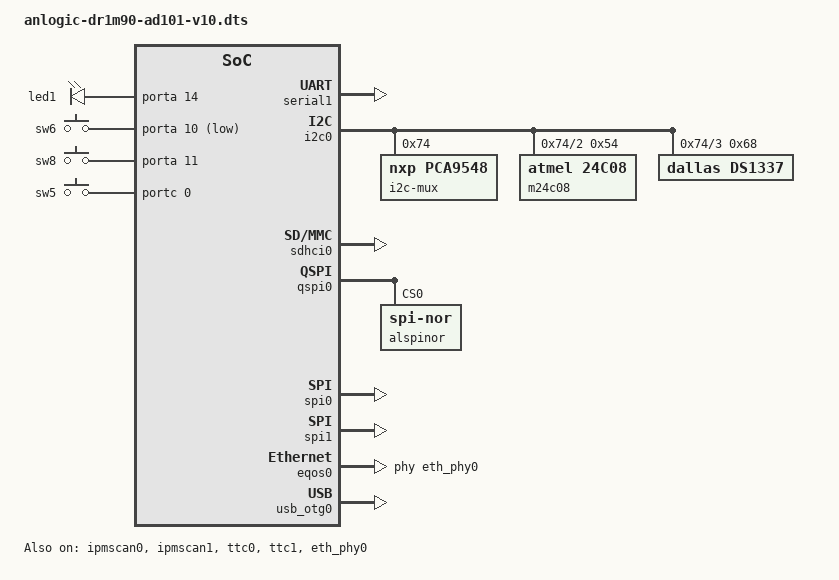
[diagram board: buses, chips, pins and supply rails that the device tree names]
// SPDX-License-Identifier: (GPL-2.0+ OR MIT)

/dts-v1/;
#include "anlogic-dr1m90.dts"
#include "anlogic-dr1m90-softip.dts"

&cma {
	alloc-ranges = <0x0 0x00000000 0x0 0xffffffff>;
	size = <0x0 0x10000000>;
};

&memory {
	reg = <0 0x00000000 0 0x40000000>;
};

&soc {
	leds {
		compatible = "gpio-leds";
		led1: led1 {
			gpios = <&porta 14 GPIO_ACTIVE_HIGH>;
			linux,default-trigger = "heartbeat";
			status = "okay";
		};
		led2: led2 {
			gpios = <&porta 13 GPIO_ACTIVE_HIGH>;
			linux,default-trigger = "heartbeat";
			status = "disabled";
		};
		led3: led3 {
			gpios = <&porta 12 GPIO_ACTIVE_HIGH>;
			linux,default-trigger = "heartbeat";
			status = "disabled";
		};
	};

	keys {
		compatible = "gpio-keys";
		sw6: sw6 {
			gpios = <&porta 10 GPIO_ACTIVE_LOW>;
			linux,code = <103>;
			status = "okay";
		};
		sw8: sw8 {
			gpios = <&porta 11 GPIO_ACTIVE_HIGH>;
			linux,code = <108>;
			status = "okay";
		};
		sw5: sw5 {
			gpios = <&portc 0 GPIO_ACTIVE_HIGH>;
			linux,code = <108>;
			status = "okay";
		};
	};
};

&serial0 {
	status = "disabled";
};

&serial1 {
	status = "okay";
};

&i2c0 {
	status = "okay";

	i2c-mux@74 {
		compatible = "nxp,pca9548";
		#address-cells = <1>;
		#size-cells = <0>;
		reg = <0x74>;
		status = "okay";

		i2c@2 {
			#address-cells = <1>;
			#size-cells = <0>;
			reg = <2>;
			/*
			 * IIC_EEPROM 1kB memory which uses 256B blocks
			 * where every block has different address.
			 *    0 - 256B address 0x54
			 * 256B - 512B address 0x55
			 * 512B - 768B address 0x56
			 * 768B - 1024B address 0x57
			 */
			m24c08: eeprom@54 {
				compatible = "atmel,24c08";
				reg = <0x54>;
				pagesize = <16>;
				address-width = <8>;
				status = "okay";
			};
		};

		i2c@3 {
			#address-cells = <1>;
			#size-cells = <0>;
			reg = <3>;
			ds1337: rtc@68 {
				compatible = "dallas,ds1337";
				reg = <0x68>;
				trickle-resistor-ohms = <250>;
				status = "okay";
			};
		};

	};
};

&i2c1 {
	status = "disabled";
};

&gpio0 {
	status = "okay";
};

&gpio1 {
	status = "okay";
};

&gpio2 {
	status = "okay";
};

&gpio3 {
	status = "okay";
};

&axidmac {
	status = "okay";
};

&watchdog0 {
	status = "disabled";
};

&ipmscan0 {
	status = "okay";
};

&ipmscan1 {
	status = "okay";
};

&sdhci0 {
	status = "okay";
};

&sdhci1 {
	status = "disabled";
};

&ahb_dma {
	status = "okay";
};

&qspi0 {
	rx-sample-delay-ns = <1>;
	status = "okay";

	//spidev@0 {
	//	compatible = "rohm,dh2228fv";
	//	reg = <0>;
	//	spi-max-frequency = <8000000>;
	//};

	flash0: flash@0 {
		compatible = "jedec,spi-nor";
		label = "alspinor";
		reg = <0x0>;
		spi-tx-bus-width = <4>;
		spi-rx-bus-width = <4>;
		spi-max-frequency = <AL_QSPI_MAX_FREQUENCY>;
	};

	//num-cs = <2>;
	//cs-gpios = <&gpio0 13 0>,
	//<&gpio0 14 0>;v
};

&spi0 {
	status = "okay";
};

&spi1 {
	status = "okay";
};

&ttc0 {
	status = "okay";
};

&ttc1 {
	status = "okay";
};

&eqos0 {
	phy-handle = <&eth_phy0>;
	status = "okay";
};

&eth_phy0 {
	/* Realtek RTL8211F (0x001cc916) */
	status = "okay";
};

&eth_phy1 {
	/* Motorcomm YT8531 (0x4f51e91b) */
	status = "disabled";
};

&eqos1 {
	phy-handle = <&eth_phy2>;
	status = "disabled";
};

&eth_phy2 {
	/* Realtek RTL8211F (0x001cc916) */
	status = "disabled";
};

&eth_phy3 {
	/* Motorcomm YT8531 (0x4f51e91b) */
	status = "disabled";
};

&usb_otg0 {
	status = "okay";
};

&adc {
	status = "disabled";
};

&smcc {
	status = "disabled";
	#address-cells = <2>;
	#size-cells = <2>;

	nfc0: nand-controller@0 {
		status = "disabled";
		compatible = "arm,pl353-nand-r2p1";
		reg = <0x0 0x0 0x0 0x1000000>;
		#address-cells = <1>;
		#size-cells = <0>;

		nand@0 {
			// nand-ecc-mode = "hw";
			// nand-bus-width = <8>;
			label = "alnand0";
			reg = <0x0>;

		};
	};
};
